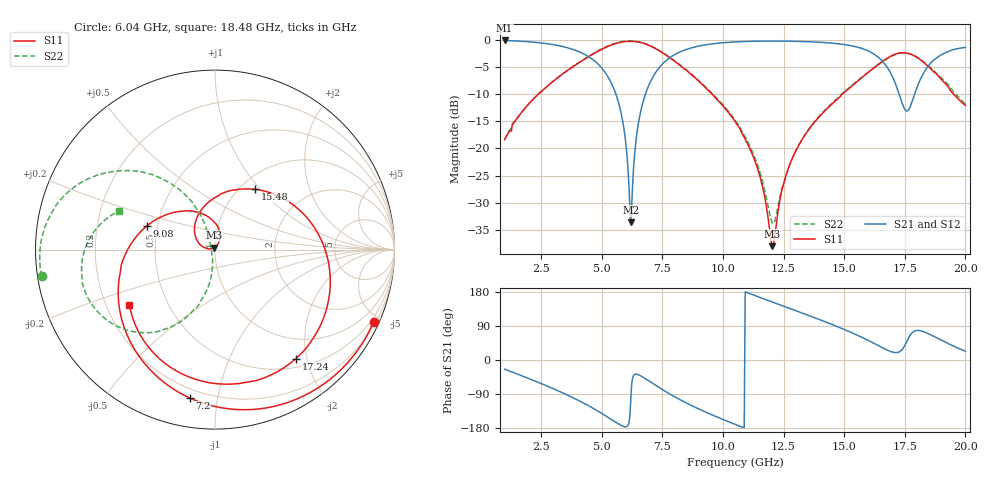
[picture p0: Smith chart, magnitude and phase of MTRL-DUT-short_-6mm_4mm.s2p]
! Multiline TRL de-embedded results
! Powered by MTRL v0.1 based on Matlab. Written by Simon.
! 29-Mar-2016 20:37:13
# hz S ma R 50
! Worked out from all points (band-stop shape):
!   476 points, 1 GHz to 20 GHz, reference 50 ohm
!   highest |S21| = -0.08 dB at 1 GHz (marker M1); lowest = -33.6 dB at 6.2 GHz (marker M2)
!   |S21| within 3 dB of the highest: start of sweep to 4.469 GHz; 7.869 GHz to 16.38 GHz (8.511 GHz wide, 70.2 % of centre) (the widest 2 of 3)
!   lowest |S11| = -38.0 dB at 12.04 GHz (marker M3), VSWR 1.03, Z = 49.5 + j1.14 ohm
!   |S11| at or under -10 dB: start of sweep to 2.387 GHz; 9.557 GHz to 14.92 GHz (5.36 GHz wide, 43.8 % of centre); 19.52 GHz to end of sweep
!   |S22| runs from -33.9 to -0.2 dB; largest |S21 - S12| = 1.4e-08
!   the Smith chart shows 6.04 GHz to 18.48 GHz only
!   S11 on the Smith chart (normalised r, x): 6.04 GHz: 0.33, -4.58; 7.2 GHz: 0.15, -0.83; 9.08 GHz: 0.44, +0.14; 15.48 GHz: 1.17, +0.94; 17.24 GHz: 0.64, -1.81; 18.48 GHz: 0.30, -0.27
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1e9  0.1203 -130.8  0.9909 -24.2  0.9909 -24.2  0.1206 -98.2
2.92e9  0.4019 145.1  0.9134 -73.3  0.9134 -73.3  0.4024 -111.9
4.2e9  0.6455 84.3  0.7568 -111.8  0.7568 -111.8  0.6493 -128.1
5.08e9  0.8378 36.2  0.5258 -143.9  0.5258 -143.9  0.8434 -145.1
6.04e9  0.9707 -24.5  0.08943 -175.6  0.08943 -175.6  0.9765 -171.3
6.2e9  0.973 -35.1  0.02091 -108.9  0.02091 -108.9  0.9787 -176.1
6.56e9  0.9527 -59.1  0.193 -40.0  0.193 -40.0  0.958 173.1
7.2e9  0.8384 -99.7  0.4907 -65.7  0.4907 -65.7  0.8448 154.5
7.36e9  0.7996 -109.3  0.5507 -72.2  0.5507 -72.2  0.806 150.5
9.08e9  0.4023 161.0  0.8863 -131.4  0.8863 -131.4  0.4077 121.8
1.052e10  0.1756 98.4  0.96 -170.2  0.96 -170.2  0.1805 112.4
1.204e10  0.01256 113.8  0.9779 152.9  0.9779 152.9  0.02047 179.6
1.268e10  0.06375 168.2  0.9754 137.8  0.9754 137.8  0.06316 -102.3
1.368e10  0.1642 134.1  0.9618 114.1  0.9618 114.1  0.1659 -98.5
1.548e10  0.4044 56.1  0.8677 67.3  0.8677 67.3  0.4079 -112.8
1.684e10  0.6929 -24.1  0.532 24.5  0.532 24.5  0.6866 -140.9
1.724e10  0.7563 -53.4  0.3312 20.7  0.3312 20.7  0.7513 -156.1
1.776e10  0.7373 -95.3  0.2546 68.8  0.2546 68.8  0.7393 -176.3
1.848e10  0.5678 -147.1  0.5808 69.2  0.5808 69.2  0.5774 158.2
1.856e10  0.5459 -152.1  0.6098 66.7  0.6098 66.7  0.5563 156.0
1.876e10  0.4991 15.5  0.6692 60.3  0.6692 60.3  0.5067 -28.6
2e10  0.2495 -39.5  0.8562 23.0  0.8562 23.0  0.2569 -42.3
